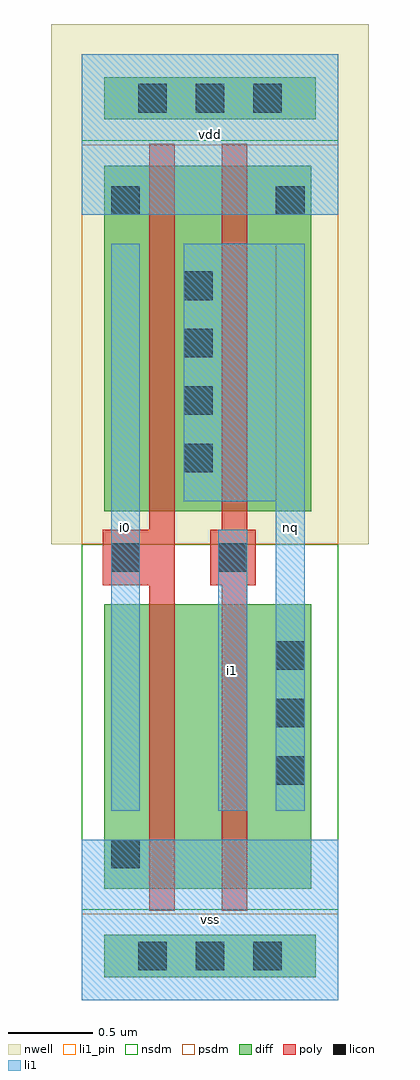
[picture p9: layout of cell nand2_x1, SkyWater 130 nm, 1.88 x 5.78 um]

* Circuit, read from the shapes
.subckt nand2_x1 i0 i1 nq vdd vss
XM1 n1 i0 vss VSUBS sky130_fd_pr__nfet_01v8 w=1.685 l=0.15
XM2 nq i1 n1 VSUBS sky130_fd_pr__nfet_01v8 w=1.685 l=0.15
XM3 nq i0 vdd n2 sky130_fd_pr__pfet_01v8 w=2.045 l=0.15
XM4 vdd i1 nq n2 sky130_fd_pr__pfet_01v8 w=2.045 l=0.15
.ends

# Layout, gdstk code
import gdstk
lib = gdstk.Library(unit=1e-6, precision=1e-09)
def R(c, l, rs):  # rectangles x0, y0, x1, y1
    for r in rs: c.add(gdstk.rectangle(r[:2], r[2:], *l))
def A(c, l, x, y, w, h, nx, ny, dx, dy):  # array of equal rectangles
    R(c, l, [(x+i*dx, y+j*dy, x+i*dx+w, y+j*dy+h) for i in range(nx) for j in range(ny)])
def P(c, l, *ps):  # polygons
    for p in ps: c.add(gdstk.Polygon(p, *l))
nwell = (64, 20)
diff = (65, 20)
poly = (66, 20)
licon = (66, 44)
li1_pin = (67, 16)
li1 = (67, 20)
nsdm = (93, 44)
psdm = (94, 20)

nand2_x1 = lib.new_cell('nand2_x1')
R(nand2_x1, nwell, [(-0.18,2.7,1.7,5.78)])
R(nand2_x1, diff, [(0.135,0.135,1.385,0.385), (0.135,0.66,1.36,2.345), (0.135,2.895,1.36,4.94), (0.135,5.215,1.385,5.465)])
P(nand2_x1, poly, [(0.4,0.53),(0.4,2.455),(0.125,2.455),(0.125,2.785),(0.4,2.785),(0.4,5.07),(0.55,5.07),(0.55,0.53)],
  [(0.83,0.53),(0.83,2.455),(0.76,2.455),(0.76,2.785),(0.83,2.785),(0.83,5.07),(0.98,5.07),(0.98,2.785),(1.03,2.785),(1.03,2.455),(0.98,2.455),(0.98,0.53)])
A(nand2_x1, licon, 0.335, 0.175, 0.17, 0.17, 3, 2, 0.34, 5.08)
A(nand2_x1, licon, 1.15, 1.275, 0.17, 0.17, 1, 3, 0, 0.34)
A(nand2_x1, licon, 0.605, 3.125, 0.17, 0.17, 1, 4, 0, 0.34)
R(nand2_x1, licon, [(0.175,0.78,0.345,0.95), (0.175,2.535,0.345,2.705), (0.81,2.535,0.98,2.705), (0.175,4.65,0.345,4.82), (1.15,4.65,1.32,4.82)])
R(nand2_x1, li1_pin, [(0,0,1.52,0.95), (0.175,1.12,0.345,4.48), (0.81,1.12,0.98,2.785), (1.15,1.12,1.32,4.48), (0,4.65,1.52,5.6)])
R(nand2_x1, li1, [(0,0,1.52,0.95), (0.175,1.12,0.345,4.48), (0.81,1.12,0.98,2.785), (0,4.65,1.52,5.6)])
P(nand2_x1, li1, [(1.15,1.12),(1.15,2.955),(0.605,2.955),(0.605,4.48),(1.32,4.48),(1.32,1.12)])
R(nand2_x1, nsdm, [(0,0.535,1.52,2.7), (0,5.09,1.52,5.6)])
R(nand2_x1, psdm, [(0,0,1.52,0.51), (0,2.7,1.52,5.065)])
nand2_x1.add(gdstk.Label('vss', (0.76,0.475), layer=67, texttype=16))
nand2_x1.add(gdstk.Label('vdd', (0.76,5.125), layer=67, texttype=16))
nand2_x1.add(gdstk.Label('i0', (0.26,2.8), layer=67, texttype=16))
nand2_x1.add(gdstk.Label('nq', (1.235,2.8), layer=67, texttype=16))
nand2_x1.add(gdstk.Label('i1', (0.895,1.953), layer=67, texttype=16))

lib.write_gds('nand2_x1.gds')
